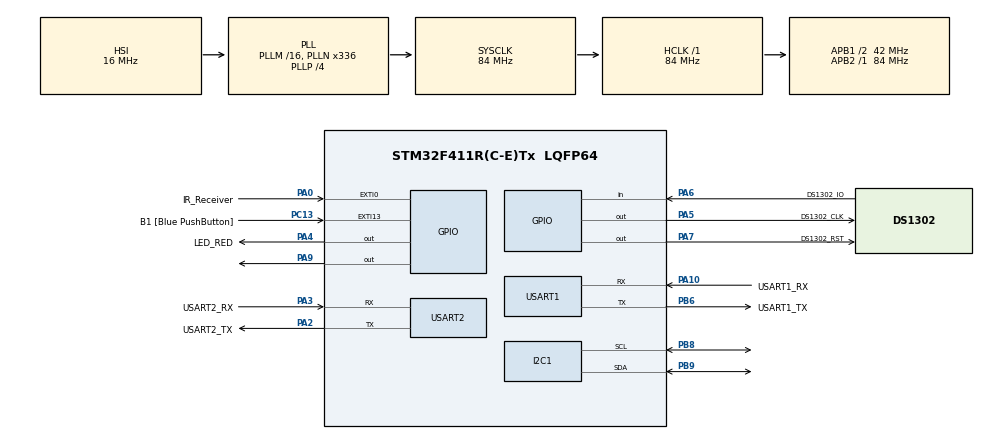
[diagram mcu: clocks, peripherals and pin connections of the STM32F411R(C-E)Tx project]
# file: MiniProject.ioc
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FREERTOS.Mutexes01=LCDMutex,Dynamic,NULL,Available
FREERTOS.Tasks01=TimeTask,32,128,StartTimeTask,Default,NULL,Dynamic,NULL,NULL;AlarmTask,40,128,StartAlarmTask,Default,NULL,Dynamic,NULL,NULL;IRTask,32,128,StartIRTask,Default,NULL,Dynamic,NULL,NULL;UIStateTask,24,128,StartUIStateTask,Default,NULL,Dynamic,NULL,NULL;LCDTask,8,128,StartLCDTask,Default,NULL,Dynamic,NULL,NULL;NTPTask,24,256,StartNTPTask,Default,NULL,Dynamic,NULL,NULL
FREERTOS.configUSE_NEWLIB_REENTRANT=1
Mcu.Family=STM32F4
Mcu.Name=STM32F411R(C-E)Tx
Mcu.Package=LQFP64
NVIC.EXTI0_IRQn=true\:5\:0\:false\:false\:true\:false\:true\:true\:true
NVIC.EXTI15_10_IRQn=true\:5\:0\:false\:false\:true\:true\:true\:true\:true
NVIC.PriorityGroup=NVIC_PRIORITYGROUP_4
NVIC.TIM2_IRQn=true\:5\:0\:false\:false\:true\:true\:true\:true\:true
NVIC.USART1_IRQn=true\:5\:0\:false\:false\:true\:true\:true\:true\:true
NVIC.USART2_IRQn=true\:5\:0\:false\:false\:true\:true\:true\:true\:true
PA0-WKUP.GPIO_Label=IR_Receiver
PA0-WKUP.GPIO_ModeDefaultEXTI=GPIO_MODE_IT_RISING_FALLING
PA0-WKUP.Signal=GPXTI0
PA10.GPIO_Label=USART1_RX
PA10.Mode=Asynchronous
PA10.Signal=USART1_RX
PA14.GPIO_Label=TCK
PA14.Mode=Serial_Wire
PA14.Signal=SYS_JTCK-SWCLK
PA2.GPIO_Label=USART2_TX
PA2.Mode=Asynchronous
PA2.Signal=USART2_TX
PA3.GPIO_Label=USART2_RX
PA3.Mode=Asynchronous
PA3.Signal=USART2_RX
PA4.GPIO_Label=LED_RED
PA4.Signal=GPIO_Output
PA5.GPIO_Label=DS1302_CLK
PA5.Signal=GPIO_Output
PA6.GPIO_Label=DS1302_IO
PA6.Signal=GPIO_Input
PA7.GPIO_Label=DS1302_RST
PA7.Signal=GPIO_Output
PA9.GPIO_PuPd=GPIO_PULLDOWN
PA9.Signal=GPIO_Output
PB3.GPIO_Label=SWO
PB3.Signal=SYS_JTDO-SWO
PB6.GPIO_Label=USART1_TX
PB6.Mode=Asynchronous
PB6.Signal=USART1_TX
PB8.Mode=I2C
PB8.Signal=I2C1_SCL
PB9.Mode=I2C
PB9.Signal=I2C1_SDA
PC13-ANTI_TAMP.GPIO_Label=B1 [Blue PushButton]
PC13-ANTI_TAMP.GPIO_ModeDefaultEXTI=GPIO_MODE_IT_FALLING
PC13-ANTI_TAMP.Signal=GPXTI13
PC14-OSC32_IN.Mode=LSE-External-Oscillator
PC14-OSC32_IN.Signal=RCC_OSC32_IN
PC15-OSC32_OUT.Mode=LSE-External-Oscillator
PC15-OSC32_OUT.Signal=RCC_OSC32_OUT
PH0\ -\ OSC_IN.Mode=HSE-External-Clock-Source
PH0\ -\ OSC_IN.Signal=RCC_OSC_IN
PH1\ -\ OSC_OUT.Mode=HSE-External-Clock-Source
PH1\ -\ OSC_OUT.Signal=RCC_OSC_OUT
ProjectManager.HeapSize=0x200
ProjectManager.StackSize=0x400
ProjectManager.TargetToolchain=STM32CubeIDE
RCC.48MHZClocksFreq_Value=84000000
RCC.AHBFreq_Value=84000000
RCC.APB1CLKDivider=RCC_HCLK_DIV2
RCC.APB1Freq_Value=42000000
RCC.APB1TimFreq_Value=84000000
RCC.APB2Freq_Value=84000000
RCC.APB2TimFreq_Value=84000000
RCC.CortexFreq_Value=84000000
RCC.FLatency-AdvancedSettings=FLASH_LATENCY_2
RCC.HCLKFreq_Value=84000000
RCC.HSE_VALUE=8000000
RCC.HSI_VALUE=16000000
RCC.PLLN=336
RCC.PLLP=RCC_PLLP_DIV4
RCC.SYSCLKFreq_VALUE=84000000
RCC.SYSCLKSource=RCC_SYSCLKSOURCE_PLLCLK
RCC.VCOOutputFreq_Value=336000000
RTC.Alarm=RTC_ALARM_A
TIM2.Period=0xFFFFFFFF
TIM2.Prescaler=83
USART1.VirtualMode=VM_ASYNC
USART2.VirtualMode=VM_ASYNC
VP_FREERTOS_VS_CMSIS_V2.Mode=CMSIS_V2
VP_RTC_VS_RTC_Activate.Mode=RTC_Enabled
VP_TIM2_VS_ClockSourceINT.Mode=Internal
board=NUCLEO-F411RE

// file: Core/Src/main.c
/* USER CODE BEGIN Header */
/**
  ******************************************************************************
  * @file           : main.c
  * @brief          : Main program body
  ******************************************************************************
  * @attention
  *
  * Copyright (c) 2025 STMicroelectronics.
  * All rights reserved.
  *
  * This software is licensed under terms that can be found in the LICENSE file
  * in the root directory of this software component.
  * If no LICENSE file comes with this software, it is provided AS-IS.
  *
  ******************************************************************************
  */
/* USER CODE END Header */
#include "main.h"
#include "cmsis_os.h"
#include "i2c.h"
#include "rtc.h"
#include "tim.h"
#include "usart.h"
#include "gpio.h"

/* USER CODE BEGIN Includes */
#include "stm32f4xx_hal.h"
#include "lcd.h"
#include "ir_decode.h"
#include "ntptimer.h"
#include <stdio.h>
#include <string.h>
/* USER CODE END Includes */

/* USER CODE BEGIN PD */
// NEC IR 리모컨 타이밍 정의
/* USER CODE END PD */

/* USER CODE BEGIN PV */
volatile uint32_t ir_data = 0;
volatile uint8_t bit_cnt = 0;
volatile uint8_t ir_key_ready = 0;
volatile uint8_t receiving = 0;

//알람 시간 관련 전역 변수
uint8_t alarm_hour = 0;
uint8_t alarm_min = 0;
uint8_t alarm_sec = 0;

uint8_t alarm_setting_mode = 0;       // 1: 설정 중, 0: 설정 아님
uint8_t alarm_hour_input_idx = 0;
uint8_t alarm_min_input_idx = 0;
uint8_t alarm_sec_input_idx = 0;
uint8_t alarm_hour_digits[2] = {0};
uint8_t alarm_min_digits[2] = {0};
uint8_t alarm_sec_digits[2] = {0};
///////////////////////////////////////////
uint8_t setup_hour_digits[2] = {0, 0};
uint8_t setup_min_digits[2] = {0, 0};
uint8_t setup_sec_digits[2] = {0, 0};
uint8_t setup_hour_input_idx = 0;
uint8_t setup_min_input_idx = 0;
uint8_t setup_sec_input_idx = 0;

uint8_t digit_input_stage = 0;  // 0: 첫 자리, 1: 둘째 자리
uint8_t temp_digit = 0;

/* USER CODE END PV */

void SystemClock_Config(void);
void MX_FREERTOS_Init(void);
/* USER CODE BEGIN PFP */
// NTP 태스크 관련 함수들
void NTP_Task_Create(void);
void NTP_Task_Delete(void);
void NTP_Sync_Task(void *argument);

// NTP 태스크 핸들
osThreadId_t NTP_SyncTaskHandle = NULL;

/* USER CODE END PFP */

int main(void)
{

  /* MCU Configuration--------------------------------------------------------*/

  /* Reset of all peripherals, Initializes the Flash interface and the Systick. */
  HAL_Init();

  /* Configure the system clock */
  SystemClock_Config();

  /* Initialize all configured peripherals */
  MX_GPIO_Init();
  MX_USART2_UART_Init();
  MX_I2C1_Init();
  MX_RTC_Init();
  MX_TIM2_Init();
  MX_USART1_UART_Init();
  /* USER CODE BEGIN 2 */
  HAL_TIM_Base_Start(&htim2); // TIM2 타이머 시작
  reset_ir_state();

  // NTP 타이머 초기화 (ESP01과 디버그용 UART2 사용)
  NTP_Timer_Init(&huart1, &huart2);  // ESP01용 UART 활성화

  // 처음 한 번만 RTC 설정
  HAL_RTCEx_BKUPWrite(&hrtc, RTC_BKP_DR1, 0x0000);  // 강제 초기화 (개발 중 1회)
  //if (HAL_RTCEx_BKUPRead(&hrtc, RTC_BKP_DR1) != 0x32F2) {
      Parse_CompileTime_And_Set_RTC();  // 최초 1회만 설정
  //}

  /* USER CODE END 2 */

  /* Init scheduler */
  osKernelInitialize();  /* Call init function for freertos objects (in cmsis_os2.c) */
  MX_FREERTOS_Init();

  /* Start scheduler */
  osKernelStart();

  /* We should never get here as control is now taken by the scheduler */

  /* Infinite loop */
  while (1)
  {

  }
}

void SystemClock_Config(void)
{
  RCC_OscInitTypeDef RCC_OscInitStruct = {0};
  RCC_ClkInitTypeDef RCC_ClkInitStruct = {0};

  /** Configure the main internal regulator output voltage
  */
  __HAL_RCC_PWR_CLK_ENABLE();
  __HAL_PWR_VOLTAGESCALING_CONFIG(PWR_REGULATOR_VOLTAGE_SCALE1);

  /** Initializes the RCC Oscillators according to the specified parameters
  * in the RCC_OscInitTypeDef structure.
  */
  RCC_OscInitStruct.OscillatorType = RCC_OSCILLATORTYPE_HSI|RCC_OSCILLATORTYPE_LSI;
  RCC_OscInitStruct.HSIState = RCC_HSI_ON;
  RCC_OscInitStruct.HSICalibrationValue = RCC_HSICALIBRATION_DEFAULT;
  RCC_OscInitStruct.LSIState = RCC_LSI_ON;
  RCC_OscInitStruct.PLL.PLLState = RCC_PLL_ON;
  RCC_OscInitStruct.PLL.PLLSource = RCC_PLLSOURCE_HSI;
  RCC_OscInitStruct.PLL.PLLM = 16;
  RCC_OscInitStruct.PLL.PLLN = 336;
  RCC_OscInitStruct.PLL.PLLP = RCC_PLLP_DIV4;
  RCC_OscInitStruct.PLL.PLLQ = 4;
  if (HAL_RCC_OscConfig(&RCC_OscInitStruct) != HAL_OK)
  {
    Error_Handler();
  }

  /** Initializes the CPU, AHB and APB buses clocks
  */
  RCC_ClkInitStruct.ClockType = RCC_CLOCKTYPE_HCLK|RCC_CLOCKTYPE_SYSCLK
                              |RCC_CLOCKTYPE_PCLK1|RCC_CLOCKTYPE_PCLK2;
  RCC_ClkInitStruct.SYSCLKSource = RCC_SYSCLKSOURCE_PLLCLK;
  RCC_ClkInitStruct.AHBCLKDivider = RCC_SYSCLK_DIV1;
  RCC_ClkInitStruct.APB1CLKDivider = RCC_HCLK_DIV2;
  RCC_ClkInitStruct.APB2CLKDivider = RCC_HCLK_DIV1;

  if (HAL_RCC_ClockConfig(&RCC_ClkInitStruct, FLASH_LATENCY_2) != HAL_OK)
  {
    Error_Handler();
  }
}

/* USER CODE BEGIN 4 */
void HAL_GPIO_EXTI_Callback(uint16_t GPIO_Pin) {
    if (GPIO_Pin == GPIO_PIN_0) {
        if (HAL_GPIO_ReadPin(GPIOA, GPIO_PIN_0) == GPIO_PIN_SET)
        {
            __HAL_TIM_SET_COUNTER(&htim2, 0); // Rising : 시간 초기
        }
        else
        {
            uint16_t delta = __HAL_TIM_GET_COUNTER(&htim2); // Falling : 시간 측정
            check_ir(delta);
        }
    }
}

/**
 * @brief  NTP 태스크 생성
 * @retval None
 */
void NTP_Task_Create(void) {
    if (NTP_SyncTaskHandle == NULL) {
        // 태스크 속성 정의
        const osThreadAttr_t ntp_task_attributes = {
            .name = "NTPSyncTask",
            .stack_size = 512 * 4,
            .priority = (osPriority_t) osPriorityNormal,
        };

        // 태스크 생성
        NTP_SyncTaskHandle = osThreadNew(NTP_Sync_Task, NULL, &ntp_task_attributes);

        if (NTP_SyncTaskHandle != NULL) {
            // 디버그 메시지 (UART2 사용)
            char msg[] = "NTP Sync Task Created\r\n";
            HAL_UART_Transmit(&huart2, (uint8_t*)msg, strlen(msg), 100);
        }
    }
}

/**
 * @brief  NTP 태스크 삭제
 * @retval None
 */
void NTP_Task_Delete(void) {
    if (NTP_SyncTaskHandle != NULL) {
        osThreadTerminate(NTP_SyncTaskHandle);
        NTP_SyncTaskHandle = NULL;

        // 디버그 메시지
        char msg[] = "NTP Sync Task Deleted\r\n";
        HAL_UART_Transmit(&huart2, (uint8_t*)msg, strlen(msg), 100);
    }
}

/**
 * @brief  NTP 동기화 태스크 (일회성)
 * @param  argument: 사용하지 않음
 * @retval None
 */
void NTP_Sync_Task(void *argument) {
    // NTP 동기화 요청
    NTP_RequestTimeSync();

    // 동기화 완료까지 대기 (최대 30초)
    uint32_t timeout = 30000; // 30초
    uint32_t start_time = osKernelGetTickCount();

    while ((osKernelGetTickCount() - start_time) < timeout) {
        // ESP 응답 처리
        NTP_ESP_ProcessResponse();

        // WiFi 상태 머신 실행
        NTP_WiFi_StateMachine();

        // 동기화 완료 확인
        if (NTP_IsTimeValid()) {
            char msg[] = "NTP Sync Completed Successfully\r\n";
            HAL_UART_Transmit(&huart2, (uint8_t*)msg, strlen(msg), 100);
            break;
        }

        osDelay(100);
    }

    // 타임아웃 또는 완료 후 자동 종료
    if (!NTP_IsTimeValid()) {
        char msg[] = "NTP Sync Timeout\r\n";
        HAL_UART_Transmit(&huart2, (uint8_t*)msg, strlen(msg), 100);
    }

    // 태스크 핸들 리셋 후 종료
    NTP_SyncTaskHandle = NULL;
    osThreadTerminate(osThreadGetId());
}

void HAL_UART_RxCpltCallback(UART_HandleTypeDef *huart) {
    // NTP 타이머 UART 콜백 호출
    NTP_UART_RxCallback(huart);
}

/* USER CODE END 4 */

void Error_Handler(void)
{
  __disable_irq();
  while (1)
  {
  }
}

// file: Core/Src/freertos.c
/* USER CODE BEGIN Header */
/**
  ******************************************************************************
  * File Name          : freertos.c
  * Description        : Code for freertos applications
  ******************************************************************************
  * @attention
  *
  * Copyright (c) 2025 STMicroelectronics.
  * All rights reserved.
  *
  * This software is licensed under terms that can be found in the LICENSE file
  * in the root directory of this software component.
  * If no LICENSE file comes with this software, it is provided AS-IS.
  *
  ******************************************************************************
  */
/* USER CODE END Header */

#include "FreeRTOS.h"
#include "task.h"
#include "main.h"
#include "cmsis_os.h"

/* USER CODE BEGIN Includes */
#include "rtc.h"
#include "lcd.h"
#include "ir_decode.h"
#include "ds1302.h"
#include "ntptimer.h"
#include <string.h>
#include <stdlib.h>
#include <stdio.h>
#include <stdbool.h>
#include "queue.h"
/* USER CODE END Includes */

/* USER CODE BEGIN PTD */
extern I2C_HandleTypeDef hi2c1;
extern UART_HandleTypeDef huart2;
extern RTC_HandleTypeDef hrtc;
extern TIM_HandleTypeDef htim2;

RTC_TimeTypeDef nowTime;
RTC_DateTypeDef nowDate;
RTC_TimeTypeDef rtc_time;
RTC_DateTypeDef rtc_date;
RTC_TimeTypeDef alarmTime = {0};

RTC_TimeTypeDef setup_time;
/* USER CODE END PTD */

/* USER CODE BEGIN PD */
#define LCD_QUEUE_LENGTH 4
#define LCD_QUEUE_ITEM_SIZE 32  // LCD 한 줄은 최대 16글자지만 여유 확보
/* USER CODE END PD */

/* USER CODE BEGIN PM */
SystemMode current_mode = MODE_IDLE;
TimeSelectMode selected_time_field = TIME_FIELD_NONE;
AlarmSelectMode selected_alarm_field = ALARM_FIELD_NONE;

QueueHandle_t lcdQueue;  // 전역 Queue 핸들
/* USER CODE END PM */

/* USER CODE BEGIN Variables */
volatile int time_set_done_flag = 0;
uint32_t time_set_done_tick = 0;

bool alarm_is_set = false;
bool force_lcd_refresh = false;

/* USER CODE END Variables */
/* Definitions for TimeTask */
osThreadId_t TimeTaskHandle;
const osThreadAttr_t TimeTask_attributes = {
  .name = "TimeTask",
  .stack_size = 128 * 4,
  .priority = (osPriority_t) osPriorityAboveNormal,
};
/* Definitions for AlarmTask */
osThreadId_t AlarmTaskHandle;
const osThreadAttr_t AlarmTask_attributes = {
  .name = "AlarmTask",
  .stack_size = 128 * 4,
  .priority = (osPriority_t) osPriorityHigh,
};
/* Definitions for IRTask */
osThreadId_t IRTaskHandle;
const osThreadAttr_t IRTask_attributes = {
  .name = "IRTask",
  .stack_size = 128 * 4,
  .priority = (osPriority_t) osPriorityAboveNormal,
};
/* Definitions for UIStateTask */
osThreadId_t UIStateTaskHandle;
const osThreadAttr_t UIStateTask_attributes = {
  .name = "UIStateTask",
  .stack_size = 128 * 4,
  .priority = (osPriority_t) osPriorityNormal,
};
/* Definitions for LCDTask */
osThreadId_t LCDTaskHandle;
const osThreadAttr_t LCDTask_attributes = {
  .name = "LCDTask",
  .stack_size = 128 * 4,
  .priority = (osPriority_t) osPriorityLow,
};
/* Definitions for NTPTask */
osThreadId_t NTPTaskHandle;
const osThreadAttr_t NTPTask_attributes = {
  .name = "NTPTask",
  .stack_size = 256 * 4,
  .priority = (osPriority_t) osPriorityNormal,
};
/* Definitions for LCDMutex */
osMutexId_t LCDMutexHandle;
const osMutexAttr_t LCDMutex_attributes = {
  .name = "LCDMutex"
};

/* USER CODE BEGIN FunctionPrototypes */
void Debug_Print(const char *msg);
/* USER CODE END FunctionPrototypes */

void StartTimeTask(void *argument);
void StartAlarmTask(void *argument);
void StartIRTask(void *argument);
void StartUIStateTask(void *argument);
void StartLCDTask(void *argument);
void StartNTPTask(void *argument);

void MX_FREERTOS_Init(void); /* (MISRA C 2004 rule 8.1) */

void MX_FREERTOS_Init(void) {
  /* Create the mutex(es) */
  /* creation of LCDMutex */
  LCDMutexHandle = osMutexNew(&LCDMutex_attributes);

  /* USER CODE BEGIN RTOS_QUEUES */
  /* add queues, ... */
  lcdQueue = xQueueCreate(LCD_QUEUE_LENGTH, LCD_QUEUE_ITEM_SIZE);
  if (lcdQueue == NULL) {
      Error_Handler();  // 큐 생성 실패 시 에러 처리
  }
  /* USER CODE END RTOS_QUEUES */

  /* Create the thread(s) */
  /* creation of TimeTask */
  TimeTaskHandle = osThreadNew(StartTimeTask, NULL, &TimeTask_attributes);

  /* creation of AlarmTask */
  AlarmTaskHandle = osThreadNew(StartAlarmTask, NULL, &AlarmTask_attributes);

  /* creation of IRTask */
  IRTaskHandle = osThreadNew(StartIRTask, NULL, &IRTask_attributes);

  /* creation of UIStateTask */
  UIStateTaskHandle = osThreadNew(StartUIStateTask, NULL, &UIStateTask_attributes);

  /* creation of LCDTask */
  LCDTaskHandle = osThreadNew(StartLCDTask, NULL, &LCDTask_attributes);

  /* creation of NTPTask */
  NTPTaskHandle = osThreadNew(StartNTPTask, NULL, &NTPTask_attributes);

}

void StartTimeTask(void *argument)
{
  /* USER CODE BEGIN StartTimeTask */
    LCD_Init(&hi2c1);
    TickType_t xLastWakeTime = xTaskGetTickCount();
	Debug_Print("StartTimeTask\r\n");

    RTC_TimeTypeDef sTime;
    RTC_DateTypeDef sDate;
    NTP_TimeData_t ntp_time;
    char buf[LCD_QUEUE_ITEM_SIZE];

    for (;;) {
    	HAL_RTC_GetTime(&hrtc, &sTime, RTC_FORMAT_BIN);
		HAL_RTC_GetDate(&hrtc, &sDate, RTC_FORMAT_BIN);

        // NTP 시간 데이터 가져오기 (표시용만)
        NTP_GetCurrentTime(&ntp_time);

        if (ntp_time.valid) {
            // NTP 시간이 유효한 경우 (동기화됨)
            snprintf(buf, sizeof(buf), "NTP:20%02d-%02d-%02d %02d:%02d:%02d",
                     ntp_time.years, ntp_time.months, ntp_time.days,
                     ntp_time.hours, ntp_time.minutes, ntp_time.seconds);
        } else {
            // NTP 시간이 유효하지 않은 경우 RTC 시간 표시
            snprintf(buf, sizeof(buf), "RTC: %02d:%02d:%02d",
                     sTime.Hours, sTime.Minutes, sTime.Seconds);
        }

		// Queue 전송 (블로킹 안 함)
		xQueueSend(lcdQueue, buf, 0);

		vTaskDelayUntil(&xLastWakeTime, pdMS_TO_TICKS(1000));
	}
  /* USER CODE END StartTimeTask */
}

void StartAlarmTask(void *argument)
{
  /* USER CODE BEGIN StartAlarmTask */
	RTC_TimeTypeDef sTime;
	static uint8_t alarm_triggered = 0;

	for (;;) {
		if (!alarm_triggered) { // 이전에 !alarm_setting_mode였음
			HAL_RTC_GetTime(&hrtc, &sTime, RTC_FORMAT_BIN);
			if (sTime.Hours == alarm_hour &&
				sTime.Minutes == alarm_min &&
		        sTime.Seconds >= alarm_sec &&
		        sTime.Seconds < alarm_sec + 2) {

				alarm_triggered = 1;

				for (int i = 0; i < 5; ++i) {
					HAL_GPIO_WritePin(GPIOA, GPIO_PIN_9, GPIO_PIN_SET);   // 부저 ON
					HAL_GPIO_WritePin(GPIOA, GPIO_PIN_4, GPIO_PIN_SET);   // LED ON
					osDelay(250);
					HAL_GPIO_WritePin(GPIOA, GPIO_PIN_9, GPIO_PIN_RESET); // 부저 OFF
					HAL_GPIO_WritePin(GPIOA, GPIO_PIN_4, GPIO_PIN_RESET); // LED OFF
					osDelay(250);
				}
			}
		}
		osDelay(500);
	}
  /* USER CODE END StartAlarmTask */
}

void StartIRTask(void *argument)
{
  /* USER CODE BEGIN StartIRTask */
	for (;;) {
		if (ir_key_ready) {
		  uint8_t cmd = (ir_data >> 16) & 0xFF;
		  ir_key_ready = 0;

		  if (cmd == 0x44) { // << 버튼: 시간 설정 진입 또는 완료
			if (current_mode == MODE_IDLE) {
			  current_mode = MODE_SET_TIME;
			  selected_time_field = TIME_FIELD_HOUR;

			  setup_hour_digits[0] = setup_hour_digits[1] = 0;
			  setup_min_digits[0] = setup_min_digits[1] = 0;
			  setup_sec_digits[0] = setup_sec_digits[1] = 0;
			  setup_hour_input_idx = setup_min_input_idx = setup_sec_input_idx = 0;

			  osMutexAcquire(LCDMutexHandle, osWaitForever);
			  LCD_SetCursor(1, 0);
			  LCD_Print("Set Time Mode     ");
			  osMutexRelease(LCDMutexHandle);
			  osDelay(1000);
			}
			else if (current_mode == MODE_SET_TIME) {
			  RTC_DateTypeDef date;
			  HAL_RTC_GetDate(&hrtc, &date, RTC_FORMAT_BIN);

			  setup_time.Hours = setup_hour_digits[0] * 10 + setup_hour_digits[1];
			  setup_time.Minutes = setup_min_digits[0] * 10 + setup_min_digits[1];
			  setup_time.Seconds = setup_sec_digits[0] * 10 + setup_sec_digits[1];

			  HAL_RTC_SetTime(&hrtc, &setup_time, RTC_FORMAT_BIN);
			  DS1302_SetTime(&setup_time, &date);

			  current_mode = MODE_IDLE;
			  selected_time_field = TIME_FIELD_NONE;

			  osMutexAcquire(LCDMutexHandle, osWaitForever);
			  LCD_SetCursor(1, 0);
			  LCD_Print("Time Set Done     ");
			  osMutexRelease(LCDMutexHandle);

			  time_set_done_flag = 1;
			  time_set_done_tick = osKernelGetTickCount();
			  osDelay(1000);
			}
		  }

		  else if (cmd == 0x43) { // Play 버튼: 알람 설정 진입 또는 완료
			if (current_mode == MODE_IDLE) {
			  current_mode = MODE_SET_ALARM;
			  selected_alarm_field = ALARM_FIELD_HOUR;

			  alarm_hour_input_idx = alarm_min_input_idx = alarm_sec_input_idx = 0;
			  alarm_hour_digits[0] = alarm_hour_digits[1] = 0;
			  alarm_min_digits[0] = alarm_min_digits[1] = 0;
			  alarm_sec_digits[0] = alarm_sec_digits[1] = 0;

			  osMutexAcquire(LCDMutexHandle, osWaitForever);
			  LCD_SetCursor(1, 0);
			  LCD_Print("Setup Alarm...");
			  osMutexRelease(LCDMutexHandle);
			  osDelay(1000);
			}
			else if (current_mode == MODE_SET_ALARM) {
			  alarm_hour = alarm_hour_digits[0] * 10 + alarm_hour_digits[1];
			  alarm_min = alarm_min_digits[0] * 10 + alarm_min_digits[1];
			  alarm_sec = alarm_sec_digits[0] * 10 + alarm_sec_digits[1];
			  current_mode = MODE_IDLE;
			  alarm_is_set = true;

			  char msg[25];
			  sprintf(msg, "Alarm: %02d:%02d:%02d  ", alarm_hour, alarm_min, alarm_sec);
			  osMutexAcquire(LCDMutexHandle, osWaitForever);
			  LCD_SetCursor(1, 0);
			  LCD_Print(msg);
			  osMutexRelease(LCDMutexHandle);
			}
		  }

		  // 시/분/초 필드 선택
		  else if (cmd == 0x45) { // CH-
			if (current_mode == MODE_SET_TIME) selected_time_field = TIME_FIELD_HOUR;
			else if (current_mode == MODE_SET_ALARM) selected_alarm_field = ALARM_FIELD_HOUR;
		  }
		  else if (cmd == 0x46) { // CH
			if (current_mode == MODE_SET_TIME) selected_time_field = TIME_FIELD_MINUTE;
			else if (current_mode == MODE_SET_ALARM) selected_alarm_field = ALARM_FIELD_MINUTE;
		  }
		  else if (cmd == 0x47) { // CH+
			if (current_mode == MODE_SET_TIME) selected_time_field = TIME_FIELD_SECOND;
			else if (current_mode == MODE_SET_ALARM) selected_alarm_field = ALARM_FIELD_SECOND;
		  }

		  // 숫자 입력 (공통)
		  else if (cmd == 0x16 || cmd == 0x0C || cmd == 0x18 || cmd == 0x5E ||
				   cmd == 0x08 || cmd == 0x1C || cmd == 0x5A || cmd == 0x42 ||
				   cmd == 0x52 || cmd == 0x4A) {
			uint8_t num = 0xFF;
			switch (cmd) {
			  case 0x16: num = 0; break;
			  case 0x0C: num = 1; break;
			  case 0x18: num = 2; break;
			  case 0x5E: num = 3; break;
			  case 0x08: num = 4; break;
			  case 0x1C: num = 5; break;
			  case 0x5A: num = 6; break;
			  case 0x42: num = 7; break;
			  case 0x52: num = 8; break;
			  case 0x4A: num = 9; break;
			}

			if (current_mode == MODE_SET_TIME && selected_time_field != TIME_FIELD_NONE) {
			  if (selected_time_field == TIME_FIELD_HOUR) {
				setup_hour_digits[setup_hour_input_idx] = num;
				setup_hour_input_idx = (setup_hour_input_idx + 1) % 2;
			  }
			  else if (selected_time_field == TIME_FIELD_MINUTE) {
				setup_min_digits[setup_min_input_idx] = num;
				setup_min_input_idx = (setup_min_input_idx + 1) % 2;
			  }
			  else if (selected_time_field == TIME_FIELD_SECOND) {
				setup_sec_digits[setup_sec_input_idx] = num;
				setup_sec_input_idx = (setup_sec_input_idx + 1) % 2;
			  }
			}
			else if (current_mode == MODE_SET_ALARM && selected_alarm_field != ALARM_FIELD_NONE) {
			  if (selected_alarm_field == ALARM_FIELD_HOUR) {
				alarm_hour_digits[alarm_hour_input_idx] = num;
				alarm_hour_input_idx = (alarm_hour_input_idx + 1) % 2;
			  }
			  else if (selected_alarm_field == ALARM_FIELD_MINUTE) {
				alarm_min_digits[alarm_min_input_idx] = num;
				alarm_min_input_idx = (alarm_min_input_idx + 1) % 2;
			  }
			  else if (selected_alarm_field == ALARM_FIELD_SECOND) {
				alarm_sec_digits[alarm_sec_input_idx] = num;
				alarm_sec_input_idx = (alarm_sec_input_idx + 1) % 2;
			  }
			}
		  }

		  // EQ 버튼: 시간/알람 설정 취소
		  else if (cmd == 0x09) {
			if (current_mode == MODE_SET_TIME || current_mode == MODE_SET_ALARM) {
			  current_mode = MODE_IDLE;
			  selected_time_field = TIME_FIELD_NONE;
			  selected_alarm_field = ALARM_FIELD_NONE;
			  alarm_is_set = false;
			  }
			  alarm_hour = 0;
			  alarm_min = 0;
			  alarm_sec = 0;

			  force_lcd_refresh = true;

			  osMutexAcquire(LCDMutexHandle, osWaitForever);
			  LCD_SetCursor(1, 0);
			  LCD_Print("                ");
			  osMutexRelease(LCDMutexHandle);
			}

		  reset_ir_state();  // 수신 완료 후 초기화
		}
		osDelay(30);
	}
  /* USER CODE END StartIRTask */
}

void StartUIStateTask(void *argument)
{
  /* USER CODE BEGIN StartUIStateTask */
	char buf[32];
	for (;;) {
		osMutexAcquire(LCDMutexHandle, osWaitForever);

		if (time_set_done_flag) {
			// 메시지 표시한 지 1초가 넘으면 초기 화면으로 복귀
			if ((osKernelGetTickCount() - time_set_done_tick) > 1000) {  // 1000 ticks = 1초 (기본 1ms tick)
				time_set_done_flag = 0;

				// 메시지 지우고 초기화
				LCD_SetCursor(1, 0);
				LCD_Print("                ");
			}
			// else "Time Set Done" 메시지 유지 (아래에서 안 덮어씀)
		}
		else if (current_mode == MODE_SET_ALARM) {
			snprintf(buf, sizeof(buf), "SetA: %d%d:%d%d:%d%d  ",
					alarm_hour_digits[0], alarm_hour_digits[1],
					alarm_min_digits[0], alarm_min_digits[1],
					alarm_sec_digits[0], alarm_sec_digits[1]);
			LCD_SetCursor(1, 0);
			LCD_Print(buf);
		}
		else if (current_mode == MODE_SET_TIME) {
			snprintf(buf, sizeof(buf), "SetT: %d%d:%d%d:%d%d  ",
					setup_hour_digits[0], setup_hour_digits[1],
					setup_min_digits[0], setup_min_digits[1],
					setup_sec_digits[0], setup_sec_digits[1]);
			LCD_SetCursor(1, 0);
			LCD_Print(buf);
		}
		else {
		    // 기본 모드
		    if (current_mode == MODE_IDLE) {
		        if (alarm_is_set) {
		            snprintf(buf, sizeof(buf), "Alarm: %02d:%02d:%02d  ", alarm_hour, alarm_min, alarm_sec);
		            LCD_SetCursor(1, 0);
		            LCD_Print(buf);
		        } else {
		            // 알람 설정이 꺼져 있으면 항상 LCD 클리어
		            LCD_SetCursor(1, 0);
		            LCD_Print("                ");
		        }
		    }
		}

		osMutexRelease(LCDMutexHandle);
		osDelay(200);
	}
  /* USER CODE END StartUIStateTask */
}

void StartLCDTask(void *argument)
{
  /* USER CODE BEGIN StartLCDTask */
  char msg[LCD_QUEUE_ITEM_SIZE];
  /* Infinite loop */
  for(;;)
  {
	// 큐에서 메시지 수신 (무한 대기)
	 if (xQueueReceive(lcdQueue, msg, portMAX_DELAY) == pdPASS) {
		 osMutexAcquire(LCDMutexHandle, osWaitForever);
		 LCD_SetCursor(0, 0);
		 LCD_Print(msg);
		 osMutexRelease(LCDMutexHandle);
	 }
  }
  /* USER CODE END StartLCDTask */
}

void StartNTPTask(void *argument)
{
  /* USER CODE BEGIN StartNTPTask */
  // 태스크 시작 후 즉시 NTP 동기화 요청 (테스트용)
  osDelay(3000);  // 시스템이 안정화될 때까지 3초 대기
  NTP_RequestTimeSync();  // 즉시 NTP 동기화 요청

  /* Infinite loop */
  for(;;)
  {
    // NTP 타이머 태스크 실행
    NTP_Timer_Task(argument);
    osDelay(100);
  }
  /* USER CODE END StartNTPTask */
}

/* USER CODE BEGIN Application */
void Debug_Print(const char *msg) {

    const char *prefix = "--debug :: ";
    HAL_UART_Transmit(&huart2, (uint8_t *)prefix, strlen(prefix), 100);
    HAL_UART_Transmit(&huart2, (uint8_t *)msg, strlen(msg), 100);
}
/* USER CODE END Application */
